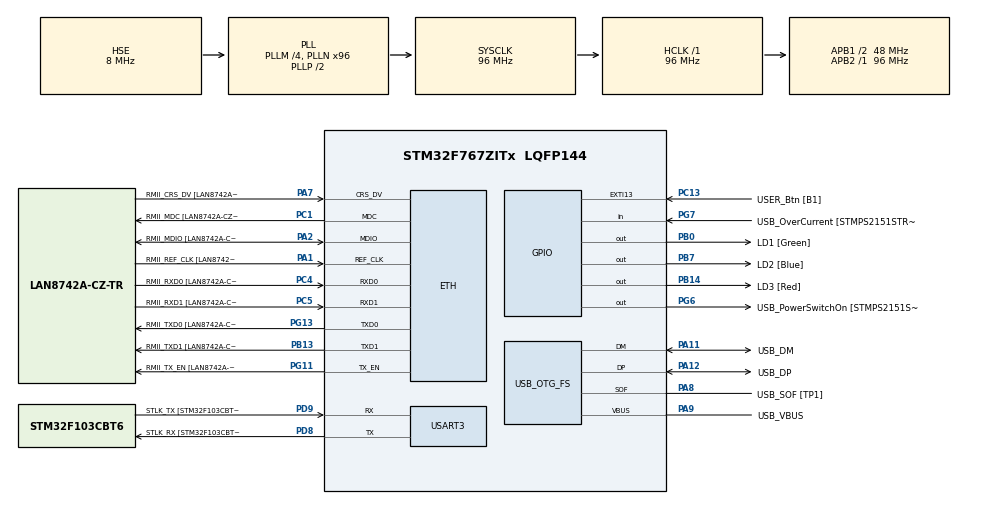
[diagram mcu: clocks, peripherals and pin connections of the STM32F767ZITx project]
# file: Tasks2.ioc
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ETH.MediaInterface=HAL_ETH_RMII_MODE
ETH.PHY_Name=LAN8742A_PHY_ADDRESS
ETH.PHY_Value=0
ETH.PhyAddress=0
FREERTOS.Tasks01=defaultTask,24,128,StartDefaultTask,Default,NULL,Dynamic,NULL,NULL;myTask02,24,128,StartTask02,Default,NULL,Dynamic,NULL,NULL
FREERTOS.configUSE_NEWLIB_REENTRANT=1
Mcu.Family=STM32F7
Mcu.Name=STM32F767ZITx
Mcu.Package=LQFP144
NVIC.PriorityGroup=NVIC_PRIORITYGROUP_4
NVIC.TIM6_DAC_IRQn=true\:15\:0\:false\:false\:true\:false\:false\:true\:true
NVIC.TimeBase=TIM6_DAC_IRQn
NVIC.TimeBaseIP=TIM6
PA1.GPIO_Label=RMII_REF_CLK [LAN8742A-CZ-TR_REFCLK0]
PA1.Mode=RMII
PA1.Signal=ETH_REF_CLK
PA10.GPIO_Label=USB_ID
PA10.Signal=USB_OTG_FS_ID
PA11.GPIO_Label=USB_DM
PA11.Mode=Device_Only
PA11.Signal=USB_OTG_FS_DM
PA12.GPIO_Label=USB_DP
PA12.Mode=Device_Only
PA12.Signal=USB_OTG_FS_DP
PA13.GPIO_Label=TMS
PA13.Mode=Serial_Wire
PA13.Signal=SYS_JTMS-SWDIO
PA14.GPIO_Label=TCK
PA14.Mode=Serial_Wire
PA14.Signal=SYS_JTCK-SWCLK
PA2.GPIO_Label=RMII_MDIO [LAN8742A-CZ-TR_MDIO]
PA2.Mode=RMII
PA2.Signal=ETH_MDIO
PA7.GPIO_Label=RMII_CRS_DV [LAN8742A-CZ-TR_CRS_DV]
PA7.Mode=RMII
PA7.Signal=ETH_CRS_DV
PA8.GPIO_Label=USB_SOF [TP1]
PA8.Mode=Activate_SOF_FS
PA8.Signal=USB_OTG_FS_SOF
PA9.GPIO_Label=USB_VBUS
PA9.Mode=Activate_VBUS
PA9.Signal=USB_OTG_FS_VBUS
PB0.GPIO_Label=LD1 [Green]
PB0.Signal=GPIO_Output
PB13.GPIO_Label=RMII_TXD1 [LAN8742A-CZ-TR_TXD1]
PB13.Mode=RMII
PB13.Signal=ETH_TXD1
PB14.GPIO_Label=LD3 [Red]
PB14.Signal=GPIO_Output
PB3.GPIO_Label=SWO
PB3.Signal=SYS_JTDO-SWO
PB7.GPIO_Label=LD2 [Blue]
PB7.Signal=GPIO_Output
PC1.GPIO_Label=RMII_MDC [LAN8742A-CZ-TR_MDC]
PC1.Mode=RMII
PC1.Signal=ETH_MDC
PC13.GPIO_Label=USER_Btn [B1]
PC13.Signal=GPXTI13
PC14/OSC32_IN.Mode=LSE-External-Oscillator
PC14/OSC32_IN.Signal=RCC_OSC32_IN
PC15/OSC32_OUT.Mode=LSE-External-Oscillator
PC15/OSC32_OUT.Signal=RCC_OSC32_OUT
PC4.GPIO_Label=RMII_RXD0 [LAN8742A-CZ-TR_RXD0]
PC4.Mode=RMII
PC4.Signal=ETH_RXD0
PC5.GPIO_Label=RMII_RXD1 [LAN8742A-CZ-TR_RXD1]
PC5.Mode=RMII
PC5.Signal=ETH_RXD1
PD8.GPIO_Label=STLK_RX [STM32F103CBT6_PA3]
PD8.Mode=Asynchronous
PD8.Signal=USART3_TX
PD9.GPIO_Label=STLK_TX [STM32F103CBT6_PA2]
PD9.Mode=Asynchronous
PD9.Signal=USART3_RX
PG11.GPIO_Label=RMII_TX_EN [LAN8742A-CZ-TR_TXEN]
PG11.Mode=RMII
PG11.Signal=ETH_TX_EN
PG13.GPIO_Label=RMII_TXD0 [LAN8742A-CZ-TR_TXD0]
PG13.Mode=RMII
PG13.Signal=ETH_TXD0
PG6.GPIO_Label=USB_PowerSwitchOn [STMPS2151STR_EN]
PG6.Signal=GPIO_Output
PG7.GPIO_Label=USB_OverCurrent [STMPS2151STR_FAULT]
PG7.Signal=GPIO_Input
PH0/OSC_IN.GPIO_Label=MCO [STM32F103CBT6_PA8]
PH0/OSC_IN.Mode=HSE-External-Clock-Source
PH0/OSC_IN.Signal=RCC_OSC_IN
PH1/OSC_OUT.Mode=HSE-External-Clock-Source
PH1/OSC_OUT.Signal=RCC_OSC_OUT
ProjectManager.HeapSize=0x200
ProjectManager.StackSize=0x400
ProjectManager.TargetToolchain=STM32CubeIDE
RCC.48MHZClocksFreq_Value=24000000
RCC.AHBFreq_Value=96000000
RCC.APB1CLKDivider=RCC_HCLK_DIV2
RCC.APB1Freq_Value=48000000
RCC.APB1TimFreq_Value=96000000
RCC.APB2Freq_Value=96000000
RCC.APB2TimFreq_Value=96000000
RCC.CortexFreq_Value=96000000
RCC.HCLKFreq_Value=96000000
RCC.HSE_VALUE=8000000
RCC.HSI_VALUE=16000000
RCC.PLLM=4
RCC.PLLMUL=RCC_PLL_MUL9
RCC.PLLN=96
RCC.PLLQ=4
RCC.PRESCALERUSB=RCC_USBCLKSOURCE_PLL_DIV1_5
RCC.SYSCLKFreq_VALUE=96000000
RCC.SYSCLKSource=RCC_SYSCLKSOURCE_PLLCLK
RCC.SYSCLKSourceVirtual=RCC_SYSCLKSOURCE_PLLCLK
RCC.USBFreq_Value=48000000
RCC.VCOOutputFreq_Value=192000000
USART3.VirtualMode-Asynchronous=VM_ASYNC
USB_OTG_FS.VirtualMode=Device_Only
VP_FREERTOS_VS_CMSIS_V2.Mode=CMSIS_V2
VP_SYS_VS_tim6.Mode=TIM6
board=NUCLEO-F767ZI

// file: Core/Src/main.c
/* USER CODE BEGIN Header */
/**
  ******************************************************************************
  * @file           : main.c
  * @brief          : Main program body
  ******************************************************************************
  * @attention
  *
  * Copyright (c) 2025 STMicroelectronics.
  * All rights reserved.
  *
  * This software is licensed under terms that can be found in the LICENSE file
  * in the root directory of this software component.
  * If no LICENSE file comes with this software, it is provided AS-IS.
  *
  ******************************************************************************
  */
/* USER CODE END Header */
#include "main.h"
#include "string.h"
#include "cmsis_os.h"

#if defined ( __ICCARM__ ) /*!< IAR Compiler */
#pragma location=0x2007c000
ETH_DMADescTypeDef  DMARxDscrTab[ETH_RX_DESC_CNT]; /* Ethernet Rx DMA Descriptors */
#pragma location=0x2007c0a0
ETH_DMADescTypeDef  DMATxDscrTab[ETH_TX_DESC_CNT]; /* Ethernet Tx DMA Descriptors */

#elif defined ( __CC_ARM )  /* MDK ARM Compiler */

__attribute__((at(0x2007c000))) ETH_DMADescTypeDef  DMARxDscrTab[ETH_RX_DESC_CNT]; /* Ethernet Rx DMA Descriptors */
__attribute__((at(0x2007c0a0))) ETH_DMADescTypeDef  DMATxDscrTab[ETH_TX_DESC_CNT]; /* Ethernet Tx DMA Descriptors */

#elif defined ( __GNUC__ ) /* GNU Compiler */

ETH_DMADescTypeDef DMARxDscrTab[ETH_RX_DESC_CNT] __attribute__((section(".RxDecripSection"))); /* Ethernet Rx DMA Descriptors */
ETH_DMADescTypeDef DMATxDscrTab[ETH_TX_DESC_CNT] __attribute__((section(".TxDecripSection")));   /* Ethernet Tx DMA Descriptors */
#endif

ETH_TxPacketConfig TxConfig;

ETH_HandleTypeDef heth;

UART_HandleTypeDef huart3;

PCD_HandleTypeDef hpcd_USB_OTG_FS;

/* Definitions for defaultTask */
osThreadId_t defaultTaskHandle;
const osThreadAttr_t defaultTask_attributes = {
  .name = "defaultTask",
  .stack_size = 128 * 4,
  .priority = (osPriority_t) osPriorityNormal,
};
/* Definitions for myTask02 */
osThreadId_t myTask02Handle;
const osThreadAttr_t myTask02_attributes = {
  .name = "myTask02",
  .stack_size = 128 * 4,
  .priority = (osPriority_t) osPriorityNormal,
};

void SystemClock_Config(void);
static void MX_GPIO_Init(void);
static void MX_ETH_Init(void);
static void MX_USART3_UART_Init(void);
static void MX_USB_OTG_FS_PCD_Init(void);
void StartDefaultTask(void *argument);
void StartTask02(void *argument);

int main(void)
{

  /* MCU Configuration--------------------------------------------------------*/

  /* Reset of all peripherals, Initializes the Flash interface and the Systick. */
  HAL_Init();

  /* Configure the system clock */
  SystemClock_Config();

  /* Initialize all configured peripherals */
  MX_GPIO_Init();
  MX_ETH_Init();
  MX_USART3_UART_Init();
  MX_USB_OTG_FS_PCD_Init();

  /* Init scheduler */
  osKernelInitialize();

  /* Create the thread(s) */
  /* creation of defaultTask */
  defaultTaskHandle = osThreadNew(StartDefaultTask, NULL, &defaultTask_attributes);

  /* creation of myTask02 */
  myTask02Handle = osThreadNew(StartTask02, NULL, &myTask02_attributes);

  /* Start scheduler */
  osKernelStart();

  /* We should never get here as control is now taken by the scheduler */

  /* Infinite loop */
  while (1)
  {

  }
}

void SystemClock_Config(void)
{
  RCC_OscInitTypeDef RCC_OscInitStruct = {0};
  RCC_ClkInitTypeDef RCC_ClkInitStruct = {0};

  /** Configure LSE Drive Capability
  */
  HAL_PWR_EnableBkUpAccess();

  /** Configure the main internal regulator output voltage
  */
  __HAL_RCC_PWR_CLK_ENABLE();
  __HAL_PWR_VOLTAGESCALING_CONFIG(PWR_REGULATOR_VOLTAGE_SCALE3);

  /** Initializes the RCC Oscillators according to the specified parameters
  * in the RCC_OscInitTypeDef structure.
  */
  RCC_OscInitStruct.OscillatorType = RCC_OSCILLATORTYPE_HSE;
  RCC_OscInitStruct.HSEState = RCC_HSE_BYPASS;
  RCC_OscInitStruct.PLL.PLLState = RCC_PLL_ON;
  RCC_OscInitStruct.PLL.PLLSource = RCC_PLLSOURCE_HSE;
  RCC_OscInitStruct.PLL.PLLM = 4;
  RCC_OscInitStruct.PLL.PLLN = 96;
  RCC_OscInitStruct.PLL.PLLP = RCC_PLLP_DIV2;
  RCC_OscInitStruct.PLL.PLLQ = 4;
  RCC_OscInitStruct.PLL.PLLR = 2;
  if (HAL_RCC_OscConfig(&RCC_OscInitStruct) != HAL_OK)
  {
    Error_Handler();
  }

  /** Activate the Over-Drive mode
  */
  if (HAL_PWREx_EnableOverDrive() != HAL_OK)
  {
    Error_Handler();
  }

  /** Initializes the CPU, AHB and APB buses clocks
  */
  RCC_ClkInitStruct.ClockType = RCC_CLOCKTYPE_HCLK|RCC_CLOCKTYPE_SYSCLK
                              |RCC_CLOCKTYPE_PCLK1|RCC_CLOCKTYPE_PCLK2;
  RCC_ClkInitStruct.SYSCLKSource = RCC_SYSCLKSOURCE_PLLCLK;
  RCC_ClkInitStruct.AHBCLKDivider = RCC_SYSCLK_DIV1;
  RCC_ClkInitStruct.APB1CLKDivider = RCC_HCLK_DIV2;
  RCC_ClkInitStruct.APB2CLKDivider = RCC_HCLK_DIV1;

  if (HAL_RCC_ClockConfig(&RCC_ClkInitStruct, FLASH_LATENCY_3) != HAL_OK)
  {
    Error_Handler();
  }
}

static void MX_ETH_Init(void)
{

   static uint8_t MACAddr[6];

  heth.Instance = ETH;
  MACAddr[0] = 0x00;
  MACAddr[1] = 0x80;
  MACAddr[2] = 0xE1;
  MACAddr[3] = 0x00;
  MACAddr[4] = 0x00;
  MACAddr[5] = 0x00;
  heth.Init.MACAddr = &MACAddr[0];
  heth.Init.MediaInterface = HAL_ETH_RMII_MODE;
  heth.Init.TxDesc = DMATxDscrTab;
  heth.Init.RxDesc = DMARxDscrTab;
  heth.Init.RxBuffLen = 1524;

  if (HAL_ETH_Init(&heth) != HAL_OK)
  {
    Error_Handler();
  }

  memset(&TxConfig, 0 , sizeof(ETH_TxPacketConfig));
  TxConfig.Attributes = ETH_TX_PACKETS_FEATURES_CSUM | ETH_TX_PACKETS_FEATURES_CRCPAD;
  TxConfig.ChecksumCtrl = ETH_CHECKSUM_IPHDR_PAYLOAD_INSERT_PHDR_CALC;
  TxConfig.CRCPadCtrl = ETH_CRC_PAD_INSERT;

}

static void MX_USART3_UART_Init(void)
{

  huart3.Instance = USART3;
  huart3.Init.BaudRate = 115200;
  huart3.Init.WordLength = UART_WORDLENGTH_8B;
  huart3.Init.StopBits = UART_STOPBITS_1;
  huart3.Init.Parity = UART_PARITY_NONE;
  huart3.Init.Mode = UART_MODE_TX_RX;
  huart3.Init.HwFlowCtl = UART_HWCONTROL_NONE;
  huart3.Init.OverSampling = UART_OVERSAMPLING_16;
  huart3.Init.OneBitSampling = UART_ONE_BIT_SAMPLE_DISABLE;
  huart3.AdvancedInit.AdvFeatureInit = UART_ADVFEATURE_NO_INIT;
  if (HAL_UART_Init(&huart3) != HAL_OK)
  {
    Error_Handler();
  }

}

static void MX_USB_OTG_FS_PCD_Init(void)
{

  hpcd_USB_OTG_FS.Instance = USB_OTG_FS;
  hpcd_USB_OTG_FS.Init.dev_endpoints = 6;
  hpcd_USB_OTG_FS.Init.speed = PCD_SPEED_FULL;
  hpcd_USB_OTG_FS.Init.dma_enable = DISABLE;
  hpcd_USB_OTG_FS.Init.phy_itface = PCD_PHY_EMBEDDED;
  hpcd_USB_OTG_FS.Init.Sof_enable = ENABLE;
  hpcd_USB_OTG_FS.Init.low_power_enable = DISABLE;
  hpcd_USB_OTG_FS.Init.lpm_enable = DISABLE;
  hpcd_USB_OTG_FS.Init.vbus_sensing_enable = ENABLE;
  hpcd_USB_OTG_FS.Init.use_dedicated_ep1 = DISABLE;
  if (HAL_PCD_Init(&hpcd_USB_OTG_FS) != HAL_OK)
  {
    Error_Handler();
  }

}

static void MX_GPIO_Init(void)
{
  GPIO_InitTypeDef GPIO_InitStruct = {0};

  /* GPIO Ports Clock Enable */
  __HAL_RCC_GPIOC_CLK_ENABLE();
  __HAL_RCC_GPIOH_CLK_ENABLE();
  __HAL_RCC_GPIOA_CLK_ENABLE();
  __HAL_RCC_GPIOB_CLK_ENABLE();
  __HAL_RCC_GPIOD_CLK_ENABLE();
  __HAL_RCC_GPIOG_CLK_ENABLE();

  /*Configure GPIO pin Output Level */
  HAL_GPIO_WritePin(GPIOB, LD1_Pin|LD3_Pin|LD2_Pin, GPIO_PIN_RESET);

  /*Configure GPIO pin Output Level */
  HAL_GPIO_WritePin(USB_PowerSwitchOn_GPIO_Port, USB_PowerSwitchOn_Pin, GPIO_PIN_RESET);

  /*Configure GPIO pin : USER_Btn_Pin */
  GPIO_InitStruct.Pin = USER_Btn_Pin;
  GPIO_InitStruct.Mode = GPIO_MODE_IT_RISING;
  GPIO_InitStruct.Pull = GPIO_NOPULL;
  HAL_GPIO_Init(USER_Btn_GPIO_Port, &GPIO_InitStruct);

  /*Configure GPIO pins : LD1_Pin LD3_Pin LD2_Pin */
  GPIO_InitStruct.Pin = LD1_Pin|LD3_Pin|LD2_Pin;
  GPIO_InitStruct.Mode = GPIO_MODE_OUTPUT_PP;
  GPIO_InitStruct.Pull = GPIO_NOPULL;
  GPIO_InitStruct.Speed = GPIO_SPEED_FREQ_LOW;
  HAL_GPIO_Init(GPIOB, &GPIO_InitStruct);

  /*Configure GPIO pin : USB_PowerSwitchOn_Pin */
  GPIO_InitStruct.Pin = USB_PowerSwitchOn_Pin;
  GPIO_InitStruct.Mode = GPIO_MODE_OUTPUT_PP;
  GPIO_InitStruct.Pull = GPIO_NOPULL;
  GPIO_InitStruct.Speed = GPIO_SPEED_FREQ_LOW;
  HAL_GPIO_Init(USB_PowerSwitchOn_GPIO_Port, &GPIO_InitStruct);

  /*Configure GPIO pin : USB_OverCurrent_Pin */
  GPIO_InitStruct.Pin = USB_OverCurrent_Pin;
  GPIO_InitStruct.Mode = GPIO_MODE_INPUT;
  GPIO_InitStruct.Pull = GPIO_NOPULL;
  HAL_GPIO_Init(USB_OverCurrent_GPIO_Port, &GPIO_InitStruct);

}

void StartDefaultTask(void *argument)
{
  /* USER CODE BEGIN 5 */
  /* Infinite loop */
  for(;;)
  {
	  /* Estado Running */
	  HAL_UART_Transmit(&huart3, (uint8_t *)"Tarefa 1 - Running\r\n",
						  strlen("Tarefa 1 - Running\r\n"), 100);
	  /* Acende o LED para indicar execução (opcional) */
	  HAL_GPIO_WritePin(GPIOB, GPIO_PIN_0, GPIO_PIN_SET);

	  /* Executa alguma atividade ou espera um tempo */
	  vTaskDelay(pdMS_TO_TICKS(1000));  // Tarefa entra em Blocked por 1 segundo

	  /* O LED pode ser apagado ao final do ciclo (ou utilizado para feedback) */
	  HAL_GPIO_WritePin(GPIOB, GPIO_PIN_0, GPIO_PIN_RESET);
  }
  /* USER CODE END 5 */
}

void StartTask02(void *argument)
{
  /* USER CODE BEGIN StartTask02 */
	vTaskDelay(pdMS_TO_TICKS(3000));
  /* Infinite loop */
  for(;;)
  {
	  /* Suspende a Tarefa 1 */
	  vTaskSuspend(defaultTaskHandle);
	  HAL_UART_Transmit(&huart3, (uint8_t *)"Tarefa 1 - Suspended\r\n",
						  strlen("Tarefa 1 - Suspended\r\n"), 100);
	  HAL_UART_Transmit(&huart3, (uint8_t *)"Tarefa 2 - Executed (Suspending Tarefa 1)\r\n",
						  strlen("Tarefa 2 - Executed (Suspending Tarefa 1)\r\n"), 100);

	  /* Enquanto a Tarefa 1 está suspensa, espere um tempo */
	  vTaskDelay(pdMS_TO_TICKS(3000));

	  /* Retoma a Tarefa 1 */
	  vTaskResume(defaultTaskHandle);
	  HAL_UART_Transmit(&huart3, (uint8_t *)"Tarefa 1 - Resumed\r\n",
						  strlen("Tarefa 1 - Resumed\r\n"), 100);
	  HAL_UART_Transmit(&huart3, (uint8_t *)"Tarefa 2 - Executed (Resuming Tarefa 1)\r\n",
						  strlen("Tarefa 2 - Executed (Resuming Tarefa 1)\r\n"), 100);

	  /* Aguarda antes de repetir o ciclo de suspensão */
	  vTaskDelay(pdMS_TO_TICKS(5000));
  }
  /* USER CODE END StartTask02 */
}

void HAL_TIM_PeriodElapsedCallback(TIM_HandleTypeDef *htim)
{
  if (htim->Instance == TIM6) {
    HAL_IncTick();
  }
}

void Error_Handler(void)
{
  __disable_irq();
  while (1)
  {
  }
}
